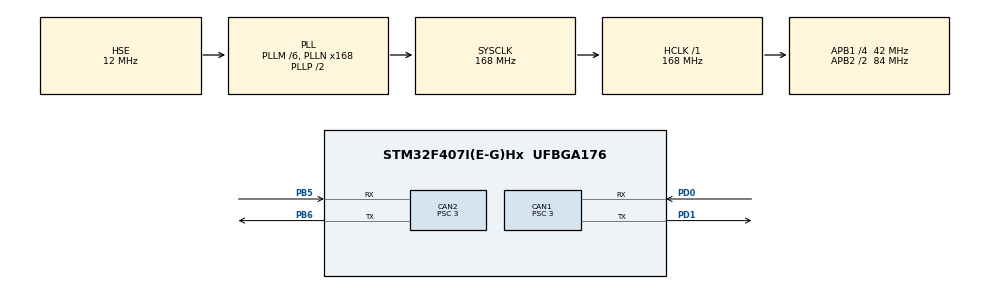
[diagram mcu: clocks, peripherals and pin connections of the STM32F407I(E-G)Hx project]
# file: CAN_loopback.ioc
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CAN1.BS1=CAN_BS1_10TQ
CAN1.BS2=CAN_BS2_3TQ
CAN1.CalculateBaudRate=1000000
CAN1.CalculateTimeBit=1000
CAN1.CalculateTimeQuantum=71.42857142857143
CAN1.Mode=CAN_MODE_NORMAL
CAN1.Prescaler=3
CAN1.TXFP=ENABLE
CAN2.BS1=CAN_BS1_10TQ
CAN2.BS2=CAN_BS2_3TQ
CAN2.CalculateBaudRate=1000000
CAN2.CalculateTimeBit=1000
CAN2.CalculateTimeQuantum=71.42857142857143
CAN2.Mode=CAN_MODE_NORMAL
CAN2.Prescaler=3
CAN2.TXFP=ENABLE
Mcu.Family=STM32F4
Mcu.Name=STM32F407I(E-G)Hx
Mcu.Package=UFBGA176
NVIC.CAN1_RX0_IRQn=true\:0\:0\:false\:false\:true\:true\:true\:true
NVIC.CAN1_RX1_IRQn=true\:0\:0\:false\:false\:true\:true\:true\:true
NVIC.CAN2_RX0_IRQn=true\:0\:0\:false\:false\:true\:true\:true\:true
NVIC.CAN2_RX1_IRQn=true\:0\:0\:false\:false\:true\:true\:true\:true
NVIC.PriorityGroup=NVIC_PRIORITYGROUP_4
PA13.Mode=Serial_Wire
PA13.Signal=SYS_JTMS-SWDIO
PA14.Mode=Serial_Wire
PA14.Signal=SYS_JTCK-SWCLK
PB5.Mode=CAN_Activate
PB5.Signal=CAN2_RX
PB6.Mode=CAN_Activate
PB6.Signal=CAN2_TX
PD0.Mode=CAN_Activate
PD0.Signal=CAN1_RX
PD1.Mode=CAN_Activate
PD1.Signal=CAN1_TX
PH0-OSC_IN.Mode=HSE-External-Oscillator
PH0-OSC_IN.Signal=RCC_OSC_IN
PH1-OSC_OUT.Mode=HSE-External-Oscillator
PH1-OSC_OUT.Signal=RCC_OSC_OUT
ProjectManager.HeapSize=0x200
ProjectManager.StackSize=0x400
ProjectManager.TargetToolchain=Makefile
RCC.48MHZClocksFreq_Value=84000000
RCC.AHBFreq_Value=168000000
RCC.APB1CLKDivider=RCC_HCLK_DIV4
RCC.APB1Freq_Value=42000000
RCC.APB1TimFreq_Value=84000000
RCC.APB2CLKDivider=RCC_HCLK_DIV2
RCC.APB2Freq_Value=84000000
RCC.APB2TimFreq_Value=168000000
RCC.CortexFreq_Value=168000000
RCC.HCLKFreq_Value=168000000
RCC.HSE_VALUE=12000000
RCC.HSI_VALUE=16000000
RCC.LSE_VALUE=32768
RCC.PLLM=6
RCC.PLLN=168
RCC.PLLSourceVirtual=RCC_PLLSOURCE_HSE
RCC.SYSCLKFreq_VALUE=168000000
RCC.SYSCLKSource=RCC_SYSCLKSOURCE_PLLCLK
RCC.VCOOutputFreq_Value=336000000
board=custom

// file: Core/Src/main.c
/* USER CODE BEGIN Header */
/**
  ******************************************************************************
  * @file           : main.c
  * @brief          : Main program body
  ******************************************************************************
  * @attention
  *
  * Copyright (c) 2026 STMicroelectronics.
  * All rights reserved.
  *
  * This software is licensed under terms that can be found in the LICENSE file
  * in the root directory of this software component.
  * If no LICENSE file comes with this software, it is provided AS-IS.
  *
  ******************************************************************************
  */
/* USER CODE END Header */
#include "main.h"
#include "can.h"
#include "gpio.h"

/* USER CODE BEGIN Includes */
#include<memory.h>
#include<math.h>
#include<stdlib.h>
/*
CAN_TxHeaderTypeDef tx_header;
CAN_RxHeaderTypeDef rx_header;
CAN_FilterTypeDef can_filter_conf;
uint32_t can1_used_mailbox;
uint32_t can2_used_mailbox;
uint8_t Send_Data[2]={0};
uint8_t Can1_Receive_Data[5]={0};
uint8_t Can2_Receive_Data[5]={0};
uint32_t CAN1_TXID=0x114;
uint32_t CAN2_TXID=0x115;
uint32_t Can1_FilterBank=0;
uint32_t Can2_FilterBank=14;
uint32_t RTR=0;
uint32_t IDE=0;
uint32_t EXID=0;*/
typedef struct{
  CAN_HandleTypeDef *can_handle;  //can句柄
  CAN_TxHeaderTypeDef txconf;     //CAN报文发送配置
  uint32_t tx_id;                 //发送id
  uint32_t tx_mailbox;            //CAN消息填入的邮箱号
  uint8_t tx_buff[8];             //发送缓存，发送的消息长度可以通过CANSetDLD()设定，最大为8
  uint8_t rx_buff[8];              //接收缓存，最大消息长度为8
  uint32_t rx_id;                 //接收id
uint8_t rx_len;                    //接收长度，可能为0——8；
}CANInstance;

/*DJI电机CAN反馈信息*/
typedef struct{
  //原始数据
  uint16_t ecd;               //0——8191，刻度总共有8192格
  uint16_t speed_rpm;         //转速，单位rpm
  int16_t real_current;         //实际电流
  uint8_t temperate;           //温度 Celsius

  //处理后的数据
  int16_t real_current_handle;     //处理后的电流
  float speed_aps;                //角速度，单位为：度/秒
  uint16_t last_ecd;             //上一次读取的编码器值
float angle_single_round;          //单圈角度，注意方向
float total_angle;                    //总角度，注意方向
int32_t total_round;           //总圈数
}DJI_Motor_Measure_s;

#define PI     3.14159265358979f   /* 注意：宏末尾不能带分号，否则 sin(t*PI) 会展开成 sin(t*3.14f;) 而报语法错 */
float t=0.0f;//用于正弦波计算的时间变量
CANInstance motor1;
DJI_Motor_Measure_s motor1_measure;
int16_t current;
float current_filter=0.9f;
/* USER CODE END Includes */

/* USER CODE BEGIN PTD */
/* 早期草稿版回调：引用了上面已被注释掉的变量，且与本文件下方的正式回调重名。
   保留在此备忘、不参与编译；真正生效的是下方调用 CANFIFOxCallback() 的两个版本。
void HAL_CAN_RxFifo1MsgPendingCallback(CAN_HandleTypeDef *hcan)
{
 HAL_CAN_GetRxMessage(hcan, CAN_FILTER_FIFO1, &rx_header, Can1_Receive_Data);
}

void HAL_CAN_RxFifo0MsgPendingCallback(CAN_HandleTypeDef *hcan)
{
 HAL_CAN_GetRxMessage(hcan, CAN_FILTER_FIFO0, &rx_header, Can2_Receive_Data);
}
*/
/* USER CODE END PTD */

/* USER CODE BEGIN PD */
void MotorDataRed(void);
/* USER CODE END PD */

/* USER CODE BEGIN PV */
static void CANFIFOxCallback(CAN_HandleTypeDef *_hcan,uint32_t fifox)
{
    static CAN_RxHeaderTypeDef rxconf;//同上
    uint8_t can_rx_buff[8];            //修正拼写：bhuff -> buff
while(HAL_CAN_GetRxFifoFillLevel(_hcan,fifox))//FIFO不为空，有可能在其他中断时有多帧数据进入
{
 HAL_CAN_GetRxMessage(_hcan, fifox, &rxconf, can_rx_buff);//从FIFO中获取数据（修正函数名与参数：HAL_CAN_getRXMessage -> HAL_CAN_GetRxMessage，_hcan.fifox -> fifox）
if(_hcan==motor1.can_handle&&rxconf.StdId==motor1.rx_id)
{
    //补：确认是 8 字节标准数据帧，避免异常帧混进解析（手册要求）
    if (rxconf.IDE != CAN_ID_STD || rxconf.RTR != CAN_RTR_DATA || rxconf.DLC != 8)
        continue;

    motor1.rx_len=rxconf.DLC;                       //保存接收到的数据长度
    memcpy(motor1.rx_buff,can_rx_buff,rxconf.DLC);  //消息拷贝到对应实例
    motor1_measure.last_ecd=motor1_measure.ecd;
  //解析电机数据
    MotorDataRed();
  //处理数据
    motor1_measure.angle_single_round=(360.0f/8192)*(float)motor1_measure.ecd;
    motor1_measure.speed_aps=(1.0f-0.85f)*motor1_measure.speed_aps+0.85f*(360.0f/60.0f)*(float)motor1_measure.speed_rpm;
    //修正拼写：current_fitter -> current_filter；一阶低通：α 越小越平滑、跟随越慢
    motor1_measure.real_current_handle=(1.0f-current_filter)*motor1_measure.real_current_handle+current_filter*(float)motor1_measure.real_current;
  //多圈角度计算，前提是假设两次采样间电机转过的角度小于180°，自己画个图就秦楚计算过程了
  //补：uint16_t 在 32 位 ARM 上会整数提升为 int，所以这里的差值是“有符号”的，过零时能得到负数，原判断逻辑成立
    if(motor1_measure.ecd-motor1_measure.last_ecd>4096)
    motor1_measure.total_round--;
    else if(motor1_measure.ecd-motor1_measure.last_ecd<-4096)
    motor1_measure.total_round++;
    motor1_measure.total_angle=motor1_measure.total_round*360+motor1_measure.angle_single_round;

   }
  }
   //修正：原来 return 在 while 内部，收到第一帧就退出，无法把 FIFO 读空；移到循环外
   return;
}

void HAL_CAN_RxFifo0MsgPendingCallback(CAN_HandleTypeDef *hcan)
{
     CANFIFOxCallback(hcan,CAN_RX_FIFO0); //调用我们自己写的函数来处理消息
}
void HAL_CAN_RxFifo1MsgPendingCallback(CAN_HandleTypeDef *hcan)
{
    CANFIFOxCallback(hcan,CAN_RX_FIFO1); //调用自己写的函数来处理消息
}
/* USER CODE END PV */

void SystemClock_Config(void);

int main(void)
{

  /* MCU Configuration--------------------------------------------------------*/

  /* Reset of all peripherals, Initializes the Flash interface and the Systick. */
  HAL_Init();

  /* Configure the system clock */
  SystemClock_Config();

  /* Initialize all configured peripherals */
  MX_GPIO_Init();
  MX_CAN1_Init();
  MX_CAN2_Init();
  /* USER CODE BEGIN 2 */
/*初始化CAN服务*/
HAL_CAN_Start(&hcan1);
HAL_CAN_ActivateNotification(&hcan1, CAN_IT_RX_FIFO0_MSG_PENDING );
HAL_CAN_ActivateNotification(&hcan1, CAN_IT_RX_FIFO1_MSG_PENDING );
HAL_CAN_Start(&hcan2);
HAL_CAN_ActivateNotification(&hcan2, CAN_IT_RX_FIFO0_MSG_PENDING );
HAL_CAN_ActivateNotification(&hcan2, CAN_IT_RX_FIFO1_MSG_PENDING );
 /*配置一个电机的基本参数*/
 motor1.txconf.StdId=0x200;             //发送id
 motor1.txconf.IDE=CAN_ID_STD;          // 使用标准id,扩展id则使用CAN_ID_EXT
 motor1.txconf.RTR=CAN_RTR_DATA;        //发送数据帧
 motor1.txconf.DLC=8;                    //默认发送长度为8
 motor1.can_handle=&hcan1;
 motor1.tx_id=0x200;
 motor1.rx_id=0x201;
 /*配置这个电机的过滤器*/
 CAN_FilterTypeDef can_filter_conf;   //修正拼写：fliter -> filter（下方用的就是这个变量）
 static uint8_t can1_filter_idx=0,can2_filter_idx=14;  //修正拼写：cna1 -> can1
 can_filter_conf.FilterMode=CAN_FILTERMODE_IDLIST;             // 使用 id_list 模式
 can_filter_conf.FilterScale=CAN_FILTERSCALE_16BIT;             // 使用 16 位 id 模式，即只有 16 位有效
 can_filter_conf.FilterFIFOAssignment=(motor1.tx_id&1)?CAN_RX_FIFO0:CAN_RX_FIFO1; //奇数id模块会被分到FIFO0,偶数id模块会被分到FIFO1
 //补：本例 tx_id=0x200 是偶数，所以反馈落到 FIFO1，对应 CAN1 RX1 中断 / FIFO1 回调
can_filter_conf.SlaveStartFilterBank=14;                         // 从第 14 个过滤器组开始配置从机过滤器
can_filter_conf.FilterIdLow=motor1.rx_id<<5;                       // 配置过滤器的低 16 位，低 5 位为 0，接收 id 为 0x201
//补：16 位列表模式下一组有 4 个匹配项，只接一个电调时四项都填同一个 ID（标准 ID 占 15~5 位，故左移 5 位）
can_filter_conf.FilterIdHigh=motor1.rx_id<<5;
can_filter_conf.FilterMaskIdLow=motor1.rx_id<<5;
can_filter_conf.FilterMaskIdHigh=motor1.rx_id<<5;
can_filter_conf.FilterBank=motor1.can_handle==&hcan1?(can1_filter_idx++):(can2_filter_idx++); //更具can_handle来判断是CAN1还是CAN2,然后自增
can_filter_conf.FilterActivation=CAN_FILTER_ENABLE;                  // 启用过滤器
HAL_CAN_ConfigFilter(motor1.can_handle,&can_filter_conf);
 /* 以下是前一版环回实验的旧配置草稿，已被上面的 C620 配置取代，保留备忘、不参与编译。
    原稿中间的 CAN2 标记用了块注释，导致注释提前闭合、后半段代码被意外编译，这里统一改成行注释形式。
 HAL_CAN_Start(&hcan1);
  __HAL_CAN_ENABLE_IT(&hcan1, CAN_IT_RX_FIFO0_MSG_PENDING);
  __HAL_CAN_ENABLE_IT(&hcan1, CAN_IT_RX_FIFO1_MSG_PENDING);
  // 监视 &114 id 进行匹配
  can_filter_conf.FilterMode = CAN_FILTERMODE_IDLIST;       // 使用 id_list 模式
  can_filter_conf.FilterScale = CAN_FILTERSCALE_16BIT;       // 使用 16 位 id 模式，即只有 16 位有效
  can_filter_conf.FilterFIFOAssignment = CAN_FILTER_FIFO1;        // 将该 id 分配到 FIFO1
  can_filter_conf.SlaveStartFilterBank = 14;              // 从第 14 个过滤器组开始分配给 CAN2
  can_filter_conf.FilterIdLow=(CAN1_TXID<<5)|(RTR<<4)|(IDE<<3)|EXID;  // 配置过滤器的低 16 位，低 5 位为 0，接收 id 为 0x114
  can_filter_conf.FilterBank=Can1_FilterBank;                       // 配置过滤器的编号为 0
  can_filter_conf.FilterActivation=CAN_FILTER_ENABLE;                  // 启用过滤器
  HAL_CAN_ConfigFilter(&hcan1,&can_filter_conf);
  // CAN2
  HAL_CAN_Start(&hcan2);
  __HAL_CAN_ENABLE_IT(&hcan2, CAN_IT_RX_FIFO0_MSG_PENDING);
  __HAL_CAN_ENABLE_IT(&hcan2, CAN_IT_RX_FIFO1_MSG_PENDING);
  // 监视 &115 id 进行匹配
  can_filter_conf.FilterMode = CAN_FILTERMODE_IDLIST;
  can_filter_conf.FilterScale = CAN_FILTERSCALE_16BIT;
  can_filter_conf.FilterFIFOAssignment = CAN_FILTER_FIFO0;
  can_filter_conf.SlaveStartFilterBank = 14;
  can_filter_conf.FilterIdLow=(CAN2_TXID<<5)|(RTR<<4)|(IDE<<3)|EXID;
  can_filter_conf.FilterBank=Can2_FilterBank;
  can_filter_conf.FilterActivation=CAN_FILTER_ENABLE;
  HAL_CAN_ConfigFilter(&hcan2,&can_filter_conf);
  */
  /* USER CODE END 2 */

  /* Infinite loop */
  while (1)
  {

    /* USER CODE BEGIN 3 */
current=1000*sin(t*PI);
t+=0.02f;
if(HAL_CAN_GetTxMailboxesFreeLevel(motor1.can_handle)==0);//等待邮箱空间
else
{
//补：先转 uint16_t 保留 16 位补码再拆字节；直接对 int16_t 右移会因算术右移把负数高位填成 0xFF
uint16_t raw=(uint16_t)current;
motor1.tx_buff[0]=(uint8_t)(raw>>8);    //高八位
motor1.tx_buff[1]=(uint8_t)(raw & 0xFFU);//低八位
motor1.tx_buff[2]=0;
motor1.tx_buff[3]=0;
motor1.tx_buff[4]=0;
motor1.tx_buff[5]=0;
motor1.tx_buff[6]=0;
motor1.tx_buff[7]=0;
HAL_CAN_AddTxMessage(motor1.can_handle,&motor1.txconf,motor1.tx_buff,&motor1.tx_mailbox);
}
HAL_Delay(10);//每10ms发送一次
  }
/*Send_Data[0]++;
   Send_Data[1]--;
    // 配置 Can1 发送的报文
    tx_header.StdId=CAN1_TXID;
    tx_header.ExtId=EXID;
    tx_header.IDE=IDE;
    tx_header.RTR=RTR;
    tx_header.DLC=sizeof(Send_Data);
    HAL_CAN_AddTxMessage(&hcan1,&tx_header,Send_Data,&can1_used_mailbox);
    // 配置 Can2 发送的报文
    tx_header.StdId=CAN2_TXID;
    tx_header.ExtId=EXID;
    tx_header.IDE=IDE;
    tx_header.RTR=RTR;
    tx_header.DLC=sizeof(Send_Data);
    HAL_CAN_AddTxMessage(&hcan2,&tx_header,Send_Data,&can2_used_mailbox);

    HAL_Delay(250);
  }*/
  /* USER CODE END 3 */
}

void SystemClock_Config(void)
{
  RCC_OscInitTypeDef RCC_OscInitStruct = {0};
  RCC_ClkInitTypeDef RCC_ClkInitStruct = {0};

  /** Configure the main internal regulator output voltage
  */
  __HAL_RCC_PWR_CLK_ENABLE();
  __HAL_PWR_VOLTAGESCALING_CONFIG(PWR_REGULATOR_VOLTAGE_SCALE1);

  /** Initializes the RCC Oscillators according to the specified parameters
  * in the RCC_OscInitTypeDef structure.
  */
  RCC_OscInitStruct.OscillatorType = RCC_OSCILLATORTYPE_HSE;
  RCC_OscInitStruct.HSEState = RCC_HSE_ON;
  RCC_OscInitStruct.PLL.PLLState = RCC_PLL_ON;
  RCC_OscInitStruct.PLL.PLLSource = RCC_PLLSOURCE_HSE;
  RCC_OscInitStruct.PLL.PLLM = 6;
  RCC_OscInitStruct.PLL.PLLN = 168;
  RCC_OscInitStruct.PLL.PLLP = RCC_PLLP_DIV2;
  RCC_OscInitStruct.PLL.PLLQ = 4;
  if (HAL_RCC_OscConfig(&RCC_OscInitStruct) != HAL_OK)
  {
    Error_Handler();
  }

  /** Initializes the CPU, AHB and APB buses clocks
  */
  RCC_ClkInitStruct.ClockType = RCC_CLOCKTYPE_HCLK|RCC_CLOCKTYPE_SYSCLK
                              |RCC_CLOCKTYPE_PCLK1|RCC_CLOCKTYPE_PCLK2;
  RCC_ClkInitStruct.SYSCLKSource = RCC_SYSCLKSOURCE_PLLCLK;
  RCC_ClkInitStruct.AHBCLKDivider = RCC_SYSCLK_DIV1;
  RCC_ClkInitStruct.APB1CLKDivider = RCC_HCLK_DIV4;
  RCC_ClkInitStruct.APB2CLKDivider = RCC_HCLK_DIV2;

  if (HAL_RCC_ClockConfig(&RCC_ClkInitStruct, FLASH_LATENCY_5) != HAL_OK)
  {
    Error_Handler();
  }
}

/* USER CODE BEGIN 4 */
/**
  * @brief  补：解析 C620 电调 0x201 反馈报文（8 字节，高字节在前）
  *         数据在 motor1.rx_buff 中，由 CANFIFOxCallback() 拷贝进来
  *         字节定义见《RM C620 无刷电机调速器使用说明》第 33 页「电调反馈报文格式」
  */
void MotorDataRed(void)
{
    // DATA[0..1]：转子单圈编码器值，0~8191（一圈 8192 格）
    motor1_measure.ecd = (uint16_t)((uint16_t)motor1.rx_buff[0] << 8 | motor1.rx_buff[1]);

    // DATA[2..3]：转速，单位 rpm；用 int16_t 保存，反转时读到负值
    motor1_measure.speed_rpm = (int16_t)((uint16_t)motor1.rx_buff[2] << 8 | motor1.rx_buff[3]);

    // DATA[4..5]：实际转矩电流；用 int16_t 保存，反转时读到负值
    motor1_measure.real_current = (int16_t)((uint16_t)motor1.rx_buff[4] << 8 | motor1.rx_buff[5]);

    // DATA[6]：电机温度，单字节直接读（摄氏度）
    motor1_measure.temperate = motor1.rx_buff[6];

    // DATA[7]：协议保留字节，不解析
}
/* USER CODE END 4 */

void Error_Handler(void)
{
  __disable_irq();
  while (1)
  {
  }
}
